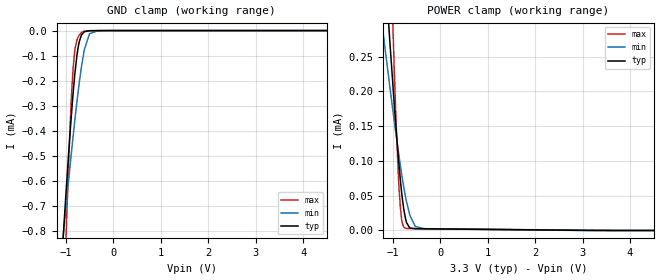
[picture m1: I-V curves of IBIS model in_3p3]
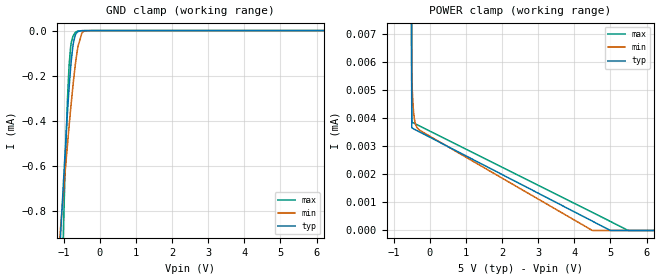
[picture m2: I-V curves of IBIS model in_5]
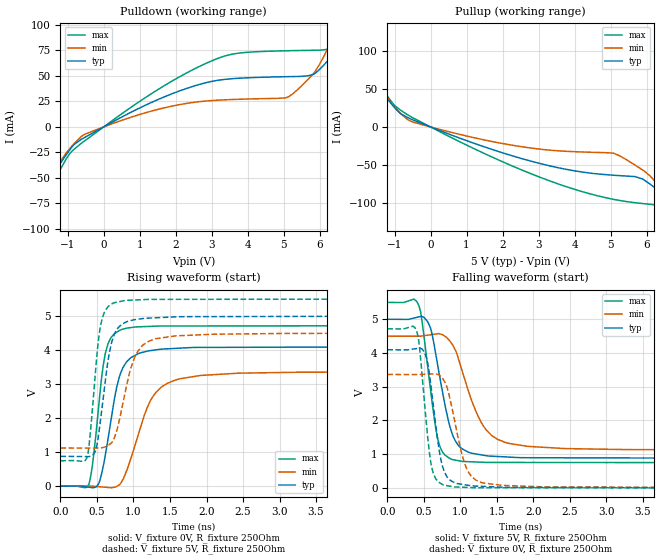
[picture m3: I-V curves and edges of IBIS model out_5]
|Texas Instruments Incorporated
| High-Performance, 8000 VPK Reinforced Quad-Channel Digital Isolator
| Marketing part#   Digital Voltage Range   Package-type   #pins
| ISOW7842FDWE   3.3V-5.5V   SOIC   16
| IS0W7842FDWER   3.3V-5.5V   SOIC   16
| ISOW7842DWE   3.3V-5.5V   SOIC   16
| IS0W7842DWER   3.3V-5.5V   SOIC   16
[IBIS Ver]   4.1
[File name]   isow7842.ibs
[File Rev]   1.0
[Date]   10/19/2016
[Source]
| Texas Instruments Incorporated.
| Analog-eLab Design Center, HPA
| 12500 TI Blvd
| Dallas, TX -75243
[Notes]   Revision History:
| Rev 1.0: 10/19/2016
| - Initial version of the model
| - Model generated from simulations in TISPICE
| - C_comp although listed in numerical order of value are
|   obtained from varying PVT conditions. For PVT conditions for
|   each specific value refer the buffer description under
|   respective [Model]. IBIS model user is responsible for using
|   appropriate C_comp to simulate for Signal Integrity.
|* EXCEPTION:   *
|* - For in_* models there will be leakage current in GROUND clamp  *
|*   because of a resistor(R0) connected to pad.   *
|* - For inf_* models there will be leakage current in POWER clamp   *
|*   because of a resistor(R1) connected to pad.   *
[Disclaimer]
| This model is designed as an aid for customers of Texas Instruments.
| TI and its licensors and suppliers make no warranties, either expressed
| or implied, with respect to this  model, including the warranties of
| merchantability or fitness for a particular purpose. The model is
| provided solely on an "as is" basis. The entire risk as to its quality
| and performance is with the customer.
[Copyright]
(C) Copyright 2016 Texas Instruments Incorporated.All rights reserved.
|   ISOW7842DWE
[Component]   ISOW7842DWE
[Manufacturer]   TI
[Package]   |16 SOIC - DWE package
|   typ   min   max
R_pkg   0.13983   0.12494   0.17928
L_pkg   2.18015nH   1.92454nH   2.85707nH
C_pkg   0.42060pF   0.21450pF   0.61276pF
[Pin]  signal_name   model_name   R_pin   L_pin   C_pin
1   VCC1   POWER   0.09703   2.25823nH  0.63889pF
2   GND1   GND   0.10567   2.15194nH  0.30706pF
3   INA   IN   0.12889   1.99554nH  0.21450pF
4   INB   IN   0.12623   1.94755nH  0.61276pF
5   OUTC   OUT   0.12494   1.92646nH  0.36666pF
6   OUTD   OUT   0.14038   2.18765nH  0.43235pF
7   NC   NC   0.17807   2.83638nH  0.45904pF
8   GND1   GND   0.08216   2.43955nH  0.44498pF
9   GND2   GND   0.10126   2.44074nH  0.40934pF
10   VSEL   NC   0.17928   2.85707nH  0.52717pF
11   IND   IN   0.12883   1.99615nH  0.50841pF
12   INC   IN   0.12617   1.94399nH  0.32633pF
13   OUTB   OUT   0.12498   1.92454nH  0.37783pF
14   OUTA   OUT   0.14050   2.18615nH  0.38097pF
15   GND2   GND   0.08275   2.09014nH  0.75096pF
16   VCC2   POWER   0.09747   2.26909nH  0.67439pF
|   IS0W7842FDWE
[Component]   IS0W7842FDWE
[Manufacturer]   TI
[Package]   |16 SOIC - DWE package
|   typ   min   max
R_pkg   0.2986   0.2007   0.3729
L_pkg   6.1920nH   5.7068nH   6.9814nH
C_pkg   0.3776pF   0.0527pF   0.7658pF
[Pin]  signal_name   model_name   R_pin   L_pin   C_pin
1   VCC1   POWER   0.09703   2.25823nH  0.63889pF
2   GND1   GND   0.10567   2.15194nH  0.30706pF
3   INA   INF   0.12889   1.99554nH  0.21450pF
4   INB   INF   0.12623   1.94755nH  0.61276pF
5   OUTC   OUT   0.12494   1.92646nH  0.36666pF
6   OUTD   OUT   0.14038   2.18765nH  0.43235pF
7   NC   NC   0.17807   2.83638nH  0.45904pF
8   GND1   GND   0.08216   2.43955nH  0.44498pF
9   GND2   GND   0.10126   2.44074nH  0.40934pF
10   VSEL   NC   0.17928   2.85707nH  0.52717pF
11   IND   INF   0.12883   1.99615nH  0.50841pF
12   INC   INF   0.12617   1.94399nH  0.32633pF
13   OUTB   OUT   0.12498   1.92454nH  0.37783pF
14   OUTA   OUT   0.14050   2.18615nH  0.38097pF
15   GND2   GND   0.08275   2.09014nH  0.75096pF
16   VCC2   POWER   0.09747   2.26909nH  0.67439pF
|   Model Selectors
[Model Selector] IN
in_3p3   3.3V digital Input
in_5   5.0V digital Input
[Model Selector] INF
inf_3p3   3.3V digital Input
inf_5   5.0V digital Input
[Model Selector] OUT
out_3p3   3.3V digital 3-state
out_5   5.0V digital 3-state
| Models and submodels in the file (6): in_3p3 (Input), in_5 (Input), inf_3p3 (Input), inf_5 (Input), out_5 (Output), out_3p3 (Output)
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|   in_3p3 Model
[Model]   in_3p3
Model_type   Input
Vinl = 0.99
Vinh = 2.31
|   typ   min   max
|   (nom PVT)   (fast PVT)   (slow PVT)
C_comp   3.281e-15   3.281e-15   3.329e-14
[Model spec]
|subparameter
Vinl   0.99   0.891   1.089
Vinh   2.31   2.079   2.541
| Where nom  PVT is Nominal Process, 3.3V, 27C
|   Fast PVT is Strong Process,  3.63V, -55C
|   Slow PVT is Weak Process,   2.97V, 150C
[Voltage Range]   3.3   2.97   3.63
|Junction Temperature
[Temperature Range]   27   150   -55
[Power Clamp Reference]   3.3   2.97   3.63
[GND Clamp Reference]   0   0   0
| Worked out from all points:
|   GND clamp passes 1 mA (typ) near -1.12 V on its own axis
|   POWER clamp passes 1 mA (typ) near -1.75 V on its own axis
[GND Clamp]
|   Voltage   I(typ)   I(min)   I(max)
-3.3V     -8.284mA   -5.57mA    -16.97mA
-1.076V   -873.6uA   -852.3uA   -1.277mA
-1.002V   -654.2uA   -707.4uA   -840.1uA
-891.3mV  -349uA     -496.6uA   -285.5uA
-853.4mV  -257.3uA   -427.5uA   -158.6uA
-821.7mV  -189.1uA   -371.5uA   -90.58uA
-768.9mV  -98.39uA   -282.7uA   -37.63uA
-719.4mV  -43.62uA   -206.4uA   -17.63uA
-617.1mV  -5.129uA   -80.39uA   -2.416uA
-505.2mV  -641.2nA   -12.81uA   -412.3nA
-330mV    -221.3nA   -470.3nA   -212.8nA
6.6V      0A         0A         0A
[POWER Clamp]
|   Voltage   I(typ)   I(min)   I(max)
-3.3V     2.696mA    1.52mA     6.012mA
-1.242V   453.3uA    304.9uA    851.4uA
-1.198V   407.7uA    280.3uA    746.3uA
-1.049V   257.2uA    198.7uA    400.8uA
-965.9mV  176.8uA    154.6uA    221.3uA
-878.8mV  100.3uA    110.8uA    71.18uA
-842.5mV  72.63uA    93.56uA    33uA
-805.2mV  48.41uA    76.82uA    11.74uA
-737.2mV  18.14uA    49.73uA    3.193uA
-526mV    2.561uA    5.724uA    2.679uA
-330mV    2.416uA    2.488uA    2.553uA
6.6V      0A         0A         0A
|   in_5 Model
[Model]   in_5
Model_type   Input
Vinl = 1.5
Vinh = 3.5
|   typ   min   max
|   (nom PVT)   (fast PVT)   (slow PVT)
C_comp   3.281e-15   3.281e-15   3.455e-14
[Model spec]
|subparameter
Vinl   1.5   1.35   1.65
Vinh   3.5   3.15   3.85
| Where nom  PVT is Nominal Process, 5V, 27C
|   Fast PVT is Strong Process,  5.5V, -55C
|   Slow PVT is Weak Process,   4.5V, 150C
[Voltage Range]   5   4.5   5.5
|Junction Temperature
[Temperature Range]   27   150   -55
[Power Clamp Reference]   5   4.5   5.5
[GND Clamp Reference]   0   0   0
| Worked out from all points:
|   GND clamp passes 1 mA (typ) near -1.12 V on its own axis
[GND Clamp]
|   Voltage   I(typ)   I(min)   I(max)
-5V       -13.99mA   -9.044mA   -29.25mA
-1.112V   -984.3uA   -924.5uA   -1.502mA
-1.062V   -831.8uA   -824.9uA   -1.192mA
-974mV    -572.9uA   -652.8uA   -683.2uA
-908mV    -391.9uA   -527.5uA   -354.9uA
-850mV    -249.6uA   -421.5uA   -149.8uA
-809mV    -164.5uA   -349.6uA   -72.24uA
-740mV    -62.8uA    -237.2uA   -24.38uA
-608mV    -4.229uA   -71.85uA   -2.005uA
-500mV    -598.4nA   -11.5uA    -395.2nA
-347mV    -233.9nA   -591nA     -223.9nA
10V       0A         0A         0A
[POWER Clamp]
|   Voltage   I(typ)   I(min)   I(max)
-5V       185.5mA    66.86mA    305.6mA
-1.007V   217uA      177.2uA    308.5uA
-500mV    3.667uA    5.488uA    3.869uA
-486.5mV  3.656uA    5.003uA    3.86uA
-468.5mV  3.642uA    4.538uA    3.848uA
-428mV    3.613uA    3.98uA     3.822uA
-374mV    3.577uA    3.716uA    3.787uA
-279.5mV  3.514uA    3.578uA    3.726uA
4.5V      333.1nA    0A         645nA
5.005V    0A         0A         319.1nA
5.49V     0A         0A         0A
10V       0A         0A         0A
|   out_5 Model
[Model]   out_5
Model_type   Output
Polarity   Non-Inverting
Vmeas = 2.5
Vref = 5
Cref = 2pF
Rref = 250
|   typ   min   max
C_comp   1.000e-200   NA   NA
|C_comp (ON state)   1.000e-200   NA   NA
|C_comp (OFF state)   1.000e-200   NA   NA
[Voltage Range]   5   4.5   5.5
[Temperature Range]   27   150   -55
[Pullup Reference]   5   4.5   5.5
[Pulldown Reference]   0   0   0
[Power Clamp Reference]   5   4.5   5.5
[GND Clamp Reference]   0   0   0
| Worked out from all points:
|   slope of the pulldown table from 0 to 0.75 V, typ, clamps not added: 52.8 ohm
|   slope of the pullup table from 0 to 0.75 V, typ, clamps not added: 54.8 ohm
|   falling waveform, V_fixture 5V, R_fixture 250Ohm: 20-80 % time 227ps typ, 353ps min, 170ps max; typ from 5 V to 0.878 V
|   rising waveform, V_fixture 0V, R_fixture 250Ohm: 20-80 % time 210ps typ, 342ps min, 147ps max; typ from 0 V to 4.1 V
|   rising waveform, V_fixture 5V, R_fixture 250Ohm: 20-80 % time 161ps typ, 234ps min, 122ps max; typ from 0.878 V to 5 V
|   falling waveform, V_fixture 0V, R_fixture 250Ohm: 20-80 % time 154ps typ, 215ps min, 124ps max; typ from 4.1 V to 0 V
[Pulldown]
|   Voltage   I(typ)   I(min)   I(max)
-5V       -288.8mA   -262.2mA   -333.9mA
-2.54V    -117mA     -112.1mA   -131.5mA
-2.09V    -86.38mA   -85.03mA   -100.4mA
-1.04V    -27.28mA   -25.6mA    -31.38mA
-560mV    -10.96mA   -7.872mA   -14.46mA
3.16V     45.71mA    26.23mA    67.12mA
5.14V     49.34mA    29.7mA     74.77mA
5.845V    51.92mA    53.18mA    75.22mA
6.49V     75.38mA    95.39mA    79.47mA
6.685V    83.25mA    109.4mA    86.48mA
7.165V    106.3mA    144.3mA    108mA
10V       512.8mA    511.9mA    514.1mA
[Pullup]
|   Voltage   I(typ)   I(min)   I(max)
-5V       512.7mA    381.1mA    657.5mA
-3.425V   204.6mA    200mA      221.3mA
-2.12V    100.5mA    104.1mA    104.8mA
-1.04V    27.77mA    28.68mA    30.62mA
-620mV    12.04mA    9.301mA    15.54mA
3.16V     -49.68mA   -29.95mA   -68.57mA
5.26V     -64.33mA   -38.29mA   -97.14mA
5.89V     -68.76mA   -56.77mA   -101.1mA
6.475V    -89.09mA   -85.5mA    -106.4mA
6.685V    -96.8mA    -97.85mA   -114.6mA
7.57V     -131.6mA   -151.1mA   -154.6mA
10V       -299.3mA   -299.6mA   -306.1mA
[Ramp]
R_load = 250
|   typ   min   max
dV/dt_r   2.458/2.09337e-10   2.01688/3.40027e-10   2.83012/1.46155e-10
dV/dt_f   2.47337/2.26564e-10   2.02533/3.51771e-10   2.85107/1.70168e-10
[Falling Waveform]
V_fixture = 5V
V_fixture_min = 4.5V
V_fixture_max = 5.5V
R_fixture = 250Ohm
C_fixture = 0F
|   Time   V(typ)   V(min)   V(max)
0s        5V         4.5V       5.5V
431.1ps   5.071V     4.497V     5.407V
474.5ps   5.084V     4.505V     4.954V
587.1ps   4.764V     4.539V     2.986V
679.1ps   3.77V      4.567V     1.575V
856.1ps   1.826V     4.357V     869.8mV
983.1ps   1.234V     3.759V     801.7mV
1.287ns   978.3mV    1.936V     760.6mV
1.604ns   919.7mV    1.356V     753.5mV
4.9ns     877.7mV    1.124V     748.2mV
[Rising Waveform]
V_fixture = 0V
V_fixture_min = 0V
V_fixture_max = 0V
R_fixture = 250Ohm
C_fixture = 0F
|   Time   V(typ)   V(min)   V(max)
0s        5.119nV    216.1nV    3.276nV
389.6ps   -30.96mV   4.727mV    61.85mV
450.1ps   -48.86mV   -1.736mV   830mV
519.8ps   58.92mV    -14.1mV    2.263V
607.1ps   825.6mV    -29.6mV    3.825V
813.6ps   3.259V     55.84mV    4.586V
967ps     3.784V     833.6mV    4.665V
1.229ns   3.986V     2.502V     4.699V
1.571ns   4.051V     3.118V     4.71V
4.9ns     4.097V     3.361V     4.717V
[Rising Waveform]
V_fixture = 5V
V_fixture_min = 4.5V
V_fixture_max = 5.5V
R_fixture = 250Ohm
C_fixture = 0F
|   Time   V(typ)   V(min)   V(max)
0s        877.7mV    1.123V     748.2mV
364.2ps   870.7mV    1.12V      847.6mV
398.5ps   875mV      1.12V      1.339V
477.8ps   1.034V     1.12V      3.313V
543.8ps   1.865V     1.119V     4.651V
646.7ps   3.625V     1.186V     5.261V
718.1ps   4.341V     1.338V     5.378V
1.004ns   4.89V      3.722V     5.473V
1.272ns   4.948V     4.316V     5.493V
4.9ns     5V         4.498V     5.5V
[Falling Waveform]
|Gnd
V_fixture = 0V
V_fixture_min = 0V
V_fixture_max = 0V
R_fixture = 250Ohm
C_fixture = 0F
|   Time   V(typ)   V(min)   V(max)
0s        4.097V     3.363V     4.717V
401.5ps   4.132V     3.36V      4.647V
441.4ps   4.144V     3.363V     4.146V
513.9ps   3.994V     3.37V      2.407V
596.6ps   3.042V     3.377V     741.1mV
757ps     630.7mV    3.245V     96.2mV
835.6ps   281.6mV    2.84V      57.12mV
1.067ns   89.73mV    673.6mV    15.46mV
1.287ns   45.99mV    160.4mV    4.133mV
4.9ns     19.41uV    1.548mV    -82.18nV
